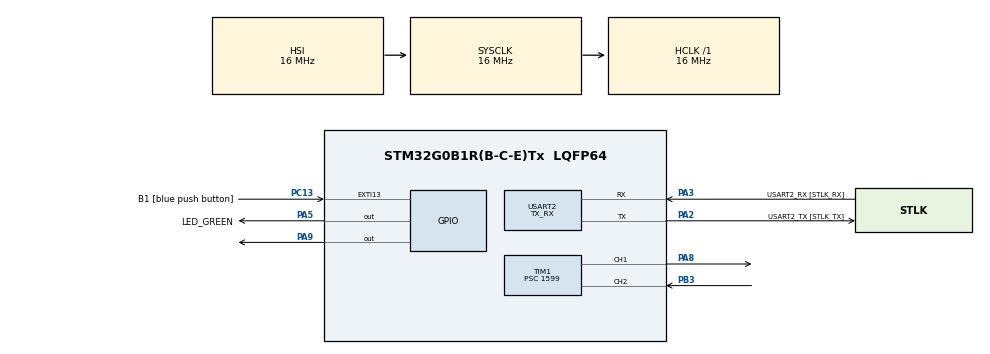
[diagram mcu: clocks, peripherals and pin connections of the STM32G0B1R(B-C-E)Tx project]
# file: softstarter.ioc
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Mcu.Family=STM32G0
Mcu.Name=STM32G0B1R(B-C-E)Tx
Mcu.Package=LQFP64
NVIC.TIM1_BRK_UP_TRG_COM_IRQn=true\:1\:0\:true\:false\:true\:true\:true\:true
NVIC.TIM1_CC_IRQn=true\:1\:0\:true\:false\:true\:true\:true\:true
NVIC.USART2_LPUART2_IRQn=true\:2\:0\:true\:false\:true\:true\:true\:true
PA13.GPIO_Label=TMS
PA13.Mode=Serial_Wire
PA13.Signal=SYS_SWDIO
PA14-BOOT0.GPIO_Label=TCK
PA14-BOOT0.Mode=Serial_Wire
PA14-BOOT0.Signal=SYS_SWCLK
PA2.GPIO_Label=USART2_TX [STLK_TX]
PA2.Mode=Asynchronous
PA2.Signal=USART2_TX
PA3.GPIO_Label=USART2_RX [STLK_RX]
PA3.Mode=Asynchronous
PA3.Signal=USART2_RX
PA5.GPIO_Label=LED_GREEN
PA5.GPIO_Speed=GPIO_SPEED_FREQ_HIGH
PA5.Signal=GPIO_Output
PA8.Signal=S_TIM1_CH1
PA9.Signal=GPIO_Output
PB3.Signal=S_TIM1_CH2
PC13.GPIO_Label=B1 [blue push button]
PC13.Signal=GPXTI13
PC14-OSC32_IN\ (PC14).Mode=LSE-External-Oscillator
PC14-OSC32_IN\ (PC14).Signal=RCC_OSC32_IN
PC15-OSC32_OUT\ (PC15).Mode=LSE-External-Oscillator
PC15-OSC32_OUT\ (PC15).Signal=RCC_OSC32_OUT
PF0-OSC_IN\ (PF0).GPIO_Label=MCO
PF0-OSC_IN\ (PF0).Mode=HSE-External-Clock-Source
PF0-OSC_IN\ (PF0).Signal=RCC_OSC_IN
ProjectManager.HeapSize=0x200
ProjectManager.StackSize=0x400
ProjectManager.TargetToolchain=STM32CubeIDE
RCC.AHBFreq_Value=16000000
RCC.CortexFreq_Value=16000000
RCC.EXTERNAL_CLOCK_VALUE=12288000
RCC.HCLKFreq_Value=16000000
RCC.HSE_VALUE=8000000
RCC.HSI48_VALUE=48000000
RCC.HSI_VALUE=16000000
RCC.SYSCLKFreq_VALUE=16000000
RCC.USBFreq_Value=48000000
RCC.VCOOutputFreq_Value=128000000
SH.S_TIM1_CH1.0=TIM1_CH1,Output Compare1 CH1
SH.S_TIM1_CH2.0=TIM1_CH2,TriggerSource_TI2FP2
TIM1.Channel-Output\ Compare1\ CH1=TIM_CHANNEL_1
TIM1.OCMode_1=TIM_OCMODE_TOGGLE
TIM1.Period=999
TIM1.Prescaler=1599
TIM1.Pulse-Output\ Compare1\ CH1=400
TIM1.Slave_TriggerFilter=2
TIM1.Slave_TriggerPolarity=TIM_TRIGGERPOLARITY_RISING
TIM1.TIM_MasterOutputTrigger=TIM_TRGO_RESET
TIM1.TIM_MasterOutputTrigger2=TIM_TRGO2_RESET
TIM1.TIM_MasterSlaveMode=TIM_MASTERSLAVEMODE_ENABLE
USART2.Mode=MODE_TX_RX
USART2.VirtualMode-Asynchronous=VM_ASYNC
VP_SYS_VS_DBSignals.Mode=DisableDeadBatterySignals
VP_TIM1_VS_ClockSourceINT.Mode=Internal
VP_TIM1_VS_ControllerModeReset.Mode=Reset Mode
board=NUCLEO-G0B1RE

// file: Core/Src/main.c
/* USER CODE BEGIN Header */
/**
  ******************************************************************************
  * @file           : main.c
  * @brief          : Main program body
  ******************************************************************************
  * @attention
  *
  * Copyright (c) 2026 STMicroelectronics.
  * All rights reserved.
  *
  * This software is licensed under terms that can be found in the LICENSE file
  * in the root directory of this software component.
  * If no LICENSE file comes with this software, it is provided AS-IS.
  *
  ******************************************************************************
  */
/* USER CODE END Header */
#include "main.h"
#include "tim.h"
#include "usart.h"
#include "gpio.h"

/* USER CODE BEGIN Includes */
#include <stdio.h>
#include <string.h>
/* USER CODE END Includes */

/* USER CODE BEGIN PV */
volatile uint8_t emergencia = 0;
volatile int tempo_rampa = 5;
volatile int tempo_desligar = 5;

uint8_t rx_byte;
char mensagem_rx[32];
uint8_t indice_rx = 0;
int pulso[2] = {1,8};
int contador = 0;

/* USER CODE END PV */

void SystemClock_Config(void);

int main(void)
{

  /* MCU Configuration--------------------------------------------------------*/

  /* Reset of all peripherals, Initializes the Flash interface and the Systick. */
  HAL_Init();

  /* Configure the system clock */
  SystemClock_Config();

  /* Initialize all configured peripherals */
  MX_GPIO_Init();
  MX_USART2_UART_Init();
  MX_TIM1_Init();
  /* USER CODE BEGIN 2 */
  HAL_UART_Receive_IT(&huart2, &rx_byte, 1);
  HAL_TIM_OC_Start_IT(&htim1, TIM_CHANNEL_1);
  HAL_TIM_Base_Start_IT(&htim1);
  //HAL_TIM_IC_Start_IT(&htim2, TIM_CHANNEL_1);
  __HAL_TIM_SET_COMPARE(&htim1, TIM_CHANNEL_1, pulso[0]);

  /* USER CODE END 2 */

  /* Infinite loop */
  while (1)
  {

  }
}

void SystemClock_Config(void)
{
  RCC_OscInitTypeDef RCC_OscInitStruct = {0};
  RCC_ClkInitTypeDef RCC_ClkInitStruct = {0};

  /** Configure the main internal regulator output voltage
  */
  HAL_PWREx_ControlVoltageScaling(PWR_REGULATOR_VOLTAGE_SCALE1);

  /** Initializes the RCC Oscillators according to the specified parameters
  * in the RCC_OscInitTypeDef structure.
  */
  RCC_OscInitStruct.OscillatorType = RCC_OSCILLATORTYPE_HSI;
  RCC_OscInitStruct.HSIState = RCC_HSI_ON;
  RCC_OscInitStruct.HSIDiv = RCC_HSI_DIV1;
  RCC_OscInitStruct.HSICalibrationValue = RCC_HSICALIBRATION_DEFAULT;
  RCC_OscInitStruct.PLL.PLLState = RCC_PLL_NONE;
  if (HAL_RCC_OscConfig(&RCC_OscInitStruct) != HAL_OK)
  {
    Error_Handler();
  }

  /** Initializes the CPU, AHB and APB buses clocks
  */
  RCC_ClkInitStruct.ClockType = RCC_CLOCKTYPE_HCLK|RCC_CLOCKTYPE_SYSCLK
                              |RCC_CLOCKTYPE_PCLK1;
  RCC_ClkInitStruct.SYSCLKSource = RCC_SYSCLKSOURCE_HSI;
  RCC_ClkInitStruct.AHBCLKDivider = RCC_SYSCLK_DIV1;
  RCC_ClkInitStruct.APB1CLKDivider = RCC_HCLK_DIV1;

  if (HAL_RCC_ClockConfig(&RCC_ClkInitStruct, FLASH_LATENCY_0) != HAL_OK)
  {
    Error_Handler();
  }
}

/* USER CODE BEGIN 4 */
void HAL_UART_RxCpltCallback(UART_HandleTypeDef *huart)
{
    if (huart->Instance != USART2)
        return;

    if (rx_byte == 'E') {
		emergencia = 1;
		indice_rx = 0;
		tempo_desligar = 0;
		tempo_rampa = 0;

		HAL_UART_Receive_IT(&huart2, &rx_byte, 1);
		return;
	}

    if (rx_byte == '\n')
    {
        mensagem_rx[indice_rx] = '\0';

        int tempo_recebido;

        if (sscanf(mensagem_rx, "T:%d", &tempo_recebido) == 1)
        {
            if (tempo_recebido >= 5 && tempo_recebido <= 55)
            {
                tempo_rampa = tempo_recebido;
                emergencia = 0;
                tempo_desligar = 0;
            }
        }
        else if (sscanf(mensagem_rx, "D:%d", &tempo_recebido) == 1)
        {
            if (tempo_recebido >= 5 && tempo_recebido <= 55)
            {
                tempo_desligar = tempo_recebido;
                tempo_rampa = 0;
                emergencia = 0;
            }
        }

        indice_rx = 0;
    }
    else if (rx_byte != '\r')
    {
        if (indice_rx < sizeof(mensagem_rx) - 1)
        {
            mensagem_rx[indice_rx++] = rx_byte;
        }
        else
        {
            // Descarta mensagem maior que o buffer
            indice_rx = 0;
        }
    }

    HAL_UART_Receive_IT(&huart2, &rx_byte, 1);
}

void HAL_TIM_OC_DelayElapsedCallback(TIM_HandleTypeDef *htim){
	if(htim->Instance == TIM1 && htim->Channel == HAL_TIM_ACTIVE_CHANNEL_1){

		HAL_GPIO_TogglePin(GPIOA, GPIO_PIN_5);

		int atual = __HAL_TIM_GET_COMPARE(htim,TIM_CHANNEL_1);

		if (atual == pulso[0]){
			__HAL_TIM_SET_COMPARE(htim,TIM_CHANNEL_1,pulso[1]);
		}
		else{
			__HAL_TIM_SET_COMPARE(htim,TIM_CHANNEL_1,pulso[0]);
		}

	}
}

void HAL_TIM_PeriodElapsedCallback(TIM_HandleTypeDef *htim){
/*
	if (htim->Instance == TIM1){

		contador++;

		if (contador >=10){

			pulso[1] += 10;
			pulso[0] += 10;

			contador = 0;

			if (pulso[1] >= 950) {
				pulso[1] = 170;
				pulso[0] = 70;
			}

		}

	}*/

}

/* USER CODE END 4 */

void Error_Handler(void)
{
  __disable_irq();
  while (1)
  {
  }
}
